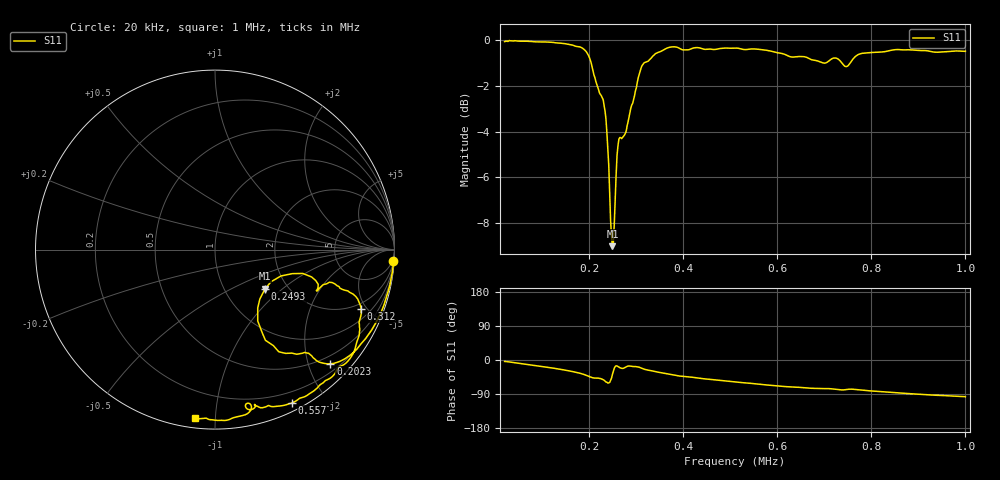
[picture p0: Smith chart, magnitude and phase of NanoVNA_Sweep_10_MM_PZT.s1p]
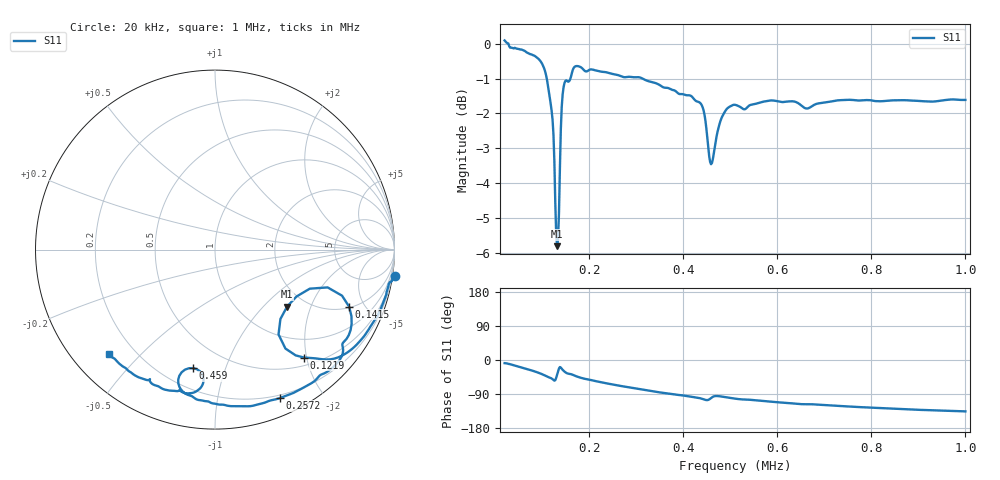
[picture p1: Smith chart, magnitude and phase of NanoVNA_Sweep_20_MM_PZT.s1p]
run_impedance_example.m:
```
% run_impedance_example  Plot the four bundled PZT sweeps without any prompts.
%
% This is the scripted path through PZT_Impedance_Analyzer. It passes the
% bundled sample files explicitly, so it runs end to end with no dialogs and
% no hardware attached. Run PZT_Impedance_Analyzer with no arguments instead
% if you would rather pick the files yourself.
%
% From the repository root:
%     run examples/run_impedance_example.m
%
% Authors:
%   Vedat Ulas
%   Osman Sayginer
%
% Copyright (c) 2026 Vedat Ulas and Osman Sayginer
% Licensed under the MIT License. See LICENSE for details.

thisDir = fileparts(mfilename('fullpath'));
repoRoot = fullfile(thisDir, '..');
addpath(fullfile(repoRoot, 'src'));
addpath(fullfile(repoRoot, 'src', 'drivers'));

sampleDir = fullfile(thisDir, 'sample_data');

files = { ...
    fullfile(sampleDir, 'NanoVNA_Sweep_10_MM_PZT.s1p'), ...
    fullfile(sampleDir, 'NanoVNA_Sweep_20_MM_PZT.s1p'), ...
    fullfile(sampleDir, 'NanoVNA_Sweep_27_MM_PZT.s1p'), ...
    fullfile(sampleDir, 'NanoVNA_Sweep_50_MM_PZT.s1p')};

labels = { ...
    'Disk A (10 mm)', ...
    'Disk B (20 mm)', ...
    'Disk C (27 mm)', ...
    'Disk D (50 mm)'};

PZT_Impedance_Analyzer(files, labels);
```
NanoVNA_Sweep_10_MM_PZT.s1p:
! NanoVNA MATLAB Controller & Analyzer Export
! Date: 29-Jul-2026 17:31:33
! Freq Range: 20.000 kHz - 1000.000 kHz (501 pts)
# Hz S RI R 50
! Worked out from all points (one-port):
!   501 points, 20 kHz to 1 MHz, reference 50 ohm
!   lowest |S11| = -9.0 dB at 249.3 kHz (marker M1), VSWR 2.10, Z = 77.1 - j38.4 ohm
!   |S11| at or under -10 dB: nowhere
!   S11 on the Smith chart (normalised r, x): 20 kHz: 3, -30; 202.3 kHz: 0.34, -2.39; 249.3 kHz: 1.54, -0.77; 312 kHz: 1.59, -4.61; 557 kHz: 0.08, -1.62; 1 MHz: 0.05, -0.89
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20000  0.9904 -0.0654
145440  0.8835 -0.4309
202280  0.6429 -0.6357
235600  0.3554 -0.5693
243440  0.2381 -0.3977
249320  0.279 -0.2179
261080  0.5612 -0.1724
286560  0.6683 -0.1915
312040  0.8145 -0.3298
347320  0.7951 -0.5028
433560  0.6425 -0.716
557040  0.428 -0.8543
674640  0.2383 -0.873
1000000  -0.1112 -0.9385
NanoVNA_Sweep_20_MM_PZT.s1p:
! NanoVNA MATLAB Controller & Analyzer Export
! Date: 29-Jul-2026 17:02:37
! Freq Range: 20.000 kHz - 1000.000 kHz (501 pts)
# Hz S RI R 50
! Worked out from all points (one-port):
!   501 points, 20 kHz to 1 MHz, reference 50 ohm
!   lowest |S11| = -5.8 dB at 131.7 kHz (marker M1), VSWR 3.10, Z = 80.4 - j69.2 ohm
!   |S11| at or under -10 dB: nowhere
!   S11 on the Smith chart (normalised r, x): 20 kHz: -1, -14; 121.9 kHz: 0.64, -1.95; 141.5 kHz: 2.06, -3.86; 257.2 kHz: 0.17, -1.52; 459 kHz: 0.32, -0.78; 1 MHz: 0.11, -0.40
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20000  1 -0.1461
88600  0.8091 -0.5078
121920  0.4949 -0.6012
131720  0.4017 -0.3175
141520  0.7474 -0.318
151320  0.7333 -0.4969
176800  0.6578 -0.6551
257160  0.3628 -0.8267
347320  0.0765 -0.8709
433560  -0.1459 -0.8114
459040  -0.1214 -0.6603
500200  -0.1426 -0.8007
674640  -0.3678 -0.7263
1000000  -0.5933 -0.5811
